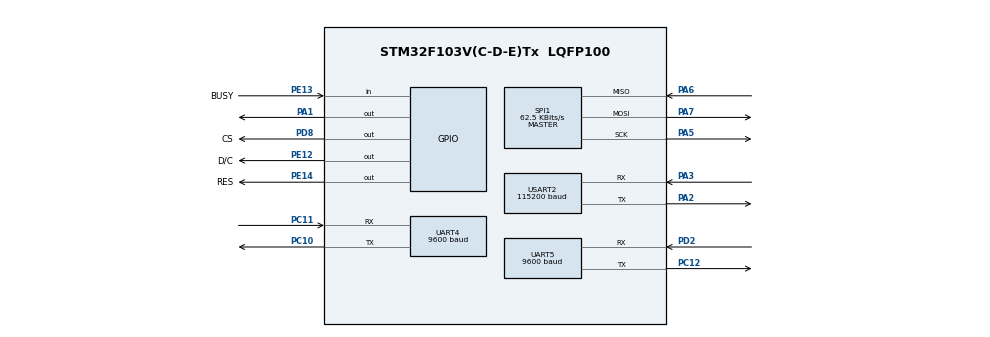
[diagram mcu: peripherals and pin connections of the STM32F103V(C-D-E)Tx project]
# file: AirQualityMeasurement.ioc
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Mcu.Family=STM32F1
Mcu.Name=STM32F103V(C-D-E)Tx
Mcu.Package=LQFP100
NVIC.PriorityGroup=NVIC_PRIORITYGROUP_4
NVIC.UART5_IRQn=true\:0\:0\:false\:false\:true\:true\:true
NVIC.USART2_IRQn=true\:0\:0\:false\:false\:true\:true\:true
PA1.Signal=GPIO_Output
PA13.Mode=Serial_Wire
PA13.Signal=SYS_JTMS-SWDIO
PA14.Mode=Serial_Wire
PA14.Signal=SYS_JTCK-SWCLK
PA2.Mode=Asynchronous
PA2.Signal=USART2_TX
PA3.Mode=Asynchronous
PA3.Signal=USART2_RX
PA5.GPIO_Speed=GPIO_SPEED_FREQ_LOW
PA5.Mode=Full_Duplex_Master
PA5.Signal=SPI1_SCK
PA6.GPIO_PuPd=GPIO_PULLUP
PA6.Mode=Full_Duplex_Master
PA6.Signal=SPI1_MISO
PA7.GPIO_Speed=GPIO_SPEED_FREQ_LOW
PA7.Mode=Full_Duplex_Master
PA7.Signal=SPI1_MOSI
PC10.Mode=Asynchronous
PC10.Signal=UART4_TX
PC11.Mode=Asynchronous
PC11.Signal=UART4_RX
PC12.Mode=Asynchronous
PC12.Signal=UART5_TX
PD2.Mode=Asynchronous
PD2.Signal=UART5_RX
PD8.GPIO_Label=CS
PD8.Signal=GPIO_Output
PE12.GPIO_Label=D/C
PE12.Signal=GPIO_Output
PE13.GPIO_Label=BUSY
PE13.GPIO_PuPd=GPIO_PULLUP
PE13.Signal=GPIO_Input
PE14.GPIO_Label=RES
PE14.Signal=GPIO_Output
ProjectManager.HeapSize=0x200
ProjectManager.StackSize=0x400
ProjectManager.TargetToolchain=STM32CubeIDE
RCC.APB1Freq_Value=8000000
RCC.APB2Freq_Value=8000000
SPI1.BaudRatePrescaler=SPI_BAUDRATEPRESCALER_128
SPI1.CalculateBaudRate=62.5 KBits/s
SPI1.Direction=SPI_DIRECTION_2LINES
SPI1.Mode=SPI_MODE_MASTER
SPI1.VirtualType=VM_MASTER
UART4.BaudRate=9600
UART4.VirtualMode=Asynchronous
UART5.BaudRate=9600
UART5.VirtualMode=Asynchronous
USART2.BaudRate=115200
USART2.VirtualMode=VM_ASYNC
board=custom

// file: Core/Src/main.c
/* USER CODE BEGIN Header */
/**
 ******************************************************************************
 * @file           : main.c
 * @brief          : Main program body
 ******************************************************************************
 * @attention
 *
 * <h2><center>&copy; Copyright (c) 2020 STMicroelectronics.
 * All rights reserved.</center></h2>
 *
 * This software component is licensed by ST under BSD 3-Clause license,
 * the "License"; You may not use this file except in compliance with the
 * License. You may obtain a copy of the License at:
 *                        opensource.org/licenses/BSD-3-Clause
 *
 ******************************************************************************
 */
/* USER CODE END Header */
#include "main.h"

/* USER CODE BEGIN Includes */
#include "../CO2/CO2.h"
#include "../EPDControl/EPDControl.h"
#include "../PM25/PM25Control.h"
#include "../ImageCreator/ImageCreator.h"
#include "stm32f1xx_hal_spi.h"
#include "../WiFi/WiFi.h"
#include "stm32f1xx_hal_uart.h"
#include "../Picture/picture.h"
#include <stdint.h>
#include <string.h>
#include "../UI/UI.h"
#include "stm32f1xx_hal.h"
#include "stm32f1xx_hal_rcc.h"
/* USER CODE END Includes */

SPI_HandleTypeDef hspi1;

UART_HandleTypeDef huart4;
UART_HandleTypeDef huart5;
UART_HandleTypeDef huart2;

void SystemClock_Config(void);
static void MX_GPIO_Init(void);
static void MX_SPI1_Init(void);
static void MX_USART2_UART_Init(void);
static void MX_UART5_Init(void);
static void MX_UART4_Init(void);
/* USER CODE BEGIN PFP */
HDC hdc = {0};
uint8_t hdcBuff[5808];
uint8_t hdcBuff2[5808];
/* USER CODE END PFP */

int main(void)
{

  /* MCU Configuration--------------------------------------------------------*/

  /* Reset of all peripherals, Initializes the Flash interface and the Systick. */
  HAL_Init();

  /* Configure the system clock */
  SystemClock_Config();

  /* Initialize all configured peripherals */
  MX_GPIO_Init();
  MX_SPI1_Init();
  MX_USART2_UART_Init();
  MX_UART5_Init();
  MX_UART4_Init();
  /* USER CODE BEGIN 2 */

  uint8_t hdc_buff_switch = 0;
  uint8_t *hdc_buff_point[2];
  hdc_buff_point[0] = hdcBuff;
  hdc_buff_point[1] = hdcBuff2;

  // 启动进度�?
  FillColor(&hdc, 0, 0, 264, 176, 1);
  ConvertTo2Color(&hdc, hdc_buff_point[hdc_buff_switch]);
  EPD_DrawImage(hdc_buff_point[hdc_buff_switch]);
  HAL_Delay(3000);

  EPD_init_4Gray();
  UIForStartUp(&hdc, 0);
  ConvertTo2Color(&hdc, hdc_buff_point[hdc_buff_switch]);
  EPD_partial_display(0, 0, hdc_buff_point[hdc_buff_switch], hdc_buff_point[hdc_buff_switch], 176, 264, 0);
  hdc_buff_switch ^= 1;

  InitAirQuality();

  // 进度�? 25%
  UIForStartUp(&hdc, 25);
  ConvertTo2Color(&hdc, hdc_buff_point[hdc_buff_switch]);
  EPD_partial_display(0, 0, hdc_buff_point[hdc_buff_switch ^ 1], hdc_buff_point[hdc_buff_switch], 176, 264, 1);
  hdc_buff_switch ^= 1;

  InitCo2Module();

  // 进度�? 50%
  UIForStartUp(&hdc, 50);
  ConvertTo2Color(&hdc, hdc_buff_point[hdc_buff_switch]);
  EPD_partial_display(0, 0, hdc_buff_point[hdc_buff_switch ^ 1], hdc_buff_point[hdc_buff_switch], 176, 264, 1);
  hdc_buff_switch ^= 1;

  GetCo2Value();

  // 进度�? 75%
  UIForStartUp(&hdc, 75);
  ConvertTo2Color(&hdc, hdc_buff_point[hdc_buff_switch]);
  EPD_partial_display(0, 0, hdc_buff_point[hdc_buff_switch ^ 1], hdc_buff_point[hdc_buff_switch], 176, 264, 1);
  hdc_buff_switch ^= 1;

  /* USER CODE END 2 */

  /* Infinite loop */
  /* USER CODE BEGIN WHILE */

  InitWiFiModule();

  // 进度�? 100%
  UIForStartUp(&hdc, 100);
  ConvertTo2Color(&hdc, hdc_buff_point[hdc_buff_switch]);
  EPD_partial_display(0, 0, hdc_buff_point[hdc_buff_switch ^ 1], hdc_buff_point[hdc_buff_switch], 176, 264, 1);
  hdc_buff_switch ^= 1;

  while (1)
  {
    /* USER CODE END WHILE */

    /* USER CODE BEGIN 3 */

    UpdataPM25Data();
    GetCo2Value();
    UpdateAirQualityInfo(g_AirQuality.PM1, g_AirQuality.PM2_5, g_AirQuality.PM10, g_AirQuality.TVOC, g_AirQuality.Temperature, g_AirQuality.Tumidity, g_u32Co2Value);

    UIForAirQuality(&hdc);
    ConvertTo2Color(&hdc, hdcBuff);
    EPD_DrawImage(hdcBuff);

    HAL_Delay(5000);
  }
  /* USER CODE END 3 */
}

void SystemClock_Config(void)
{
  RCC_OscInitTypeDef RCC_OscInitStruct = {0};
  RCC_ClkInitTypeDef RCC_ClkInitStruct = {0};

  /** Initializes the RCC Oscillators according to the specified parameters
  * in the RCC_OscInitTypeDef structure.
  */
  RCC_OscInitStruct.OscillatorType = RCC_OSCILLATORTYPE_HSI;
  RCC_OscInitStruct.HSIState = RCC_HSI_ON;
  RCC_OscInitStruct.HSICalibrationValue = RCC_HSICALIBRATION_DEFAULT;
  RCC_OscInitStruct.PLL.PLLState = RCC_PLL_NONE;
  if (HAL_RCC_OscConfig(&RCC_OscInitStruct) != HAL_OK)
  {
    Error_Handler();
  }
  /** Initializes the CPU, AHB and APB buses clocks
  */
  RCC_ClkInitStruct.ClockType = RCC_CLOCKTYPE_HCLK|RCC_CLOCKTYPE_SYSCLK
                              |RCC_CLOCKTYPE_PCLK1|RCC_CLOCKTYPE_PCLK2;
  RCC_ClkInitStruct.SYSCLKSource = RCC_SYSCLKSOURCE_HSI;
  RCC_ClkInitStruct.AHBCLKDivider = RCC_SYSCLK_DIV1;
  RCC_ClkInitStruct.APB1CLKDivider = RCC_HCLK_DIV1;
  RCC_ClkInitStruct.APB2CLKDivider = RCC_HCLK_DIV1;

  if (HAL_RCC_ClockConfig(&RCC_ClkInitStruct, FLASH_LATENCY_0) != HAL_OK)
  {
    Error_Handler();
  }
}

static void MX_SPI1_Init(void)
{

  /* SPI1 parameter configuration*/
  hspi1.Instance = SPI1;
  hspi1.Init.Mode = SPI_MODE_MASTER;
  hspi1.Init.Direction = SPI_DIRECTION_2LINES;
  hspi1.Init.DataSize = SPI_DATASIZE_8BIT;
  hspi1.Init.CLKPolarity = SPI_POLARITY_LOW;
  hspi1.Init.CLKPhase = SPI_PHASE_1EDGE;
  hspi1.Init.NSS = SPI_NSS_SOFT;
  hspi1.Init.BaudRatePrescaler = SPI_BAUDRATEPRESCALER_128;
  hspi1.Init.FirstBit = SPI_FIRSTBIT_MSB;
  hspi1.Init.TIMode = SPI_TIMODE_DISABLE;
  hspi1.Init.CRCCalculation = SPI_CRCCALCULATION_DISABLE;
  hspi1.Init.CRCPolynomial = 10;
  if (HAL_SPI_Init(&hspi1) != HAL_OK)
  {
    Error_Handler();
  }

}

static void MX_UART4_Init(void)
{

  huart4.Instance = UART4;
  huart4.Init.BaudRate = 9600;
  huart4.Init.WordLength = UART_WORDLENGTH_8B;
  huart4.Init.StopBits = UART_STOPBITS_1;
  huart4.Init.Parity = UART_PARITY_NONE;
  huart4.Init.Mode = UART_MODE_TX_RX;
  huart4.Init.HwFlowCtl = UART_HWCONTROL_NONE;
  huart4.Init.OverSampling = UART_OVERSAMPLING_16;
  if (HAL_UART_Init(&huart4) != HAL_OK)
  {
    Error_Handler();
  }

}

static void MX_UART5_Init(void)
{

  huart5.Instance = UART5;
  huart5.Init.BaudRate = 9600;
  huart5.Init.WordLength = UART_WORDLENGTH_8B;
  huart5.Init.StopBits = UART_STOPBITS_1;
  huart5.Init.Parity = UART_PARITY_NONE;
  huart5.Init.Mode = UART_MODE_TX_RX;
  huart5.Init.HwFlowCtl = UART_HWCONTROL_NONE;
  huart5.Init.OverSampling = UART_OVERSAMPLING_16;
  if (HAL_UART_Init(&huart5) != HAL_OK)
  {
    Error_Handler();
  }

}

static void MX_USART2_UART_Init(void)
{

  huart2.Instance = USART2;
  huart2.Init.BaudRate = 115200;
  huart2.Init.WordLength = UART_WORDLENGTH_8B;
  huart2.Init.StopBits = UART_STOPBITS_1;
  huart2.Init.Parity = UART_PARITY_NONE;
  huart2.Init.Mode = UART_MODE_TX_RX;
  huart2.Init.HwFlowCtl = UART_HWCONTROL_NONE;
  huart2.Init.OverSampling = UART_OVERSAMPLING_16;
  if (HAL_UART_Init(&huart2) != HAL_OK)
  {
    Error_Handler();
  }

}

static void MX_GPIO_Init(void)
{
  GPIO_InitTypeDef GPIO_InitStruct = {0};

  /* GPIO Ports Clock Enable */
  __HAL_RCC_GPIOA_CLK_ENABLE();
  __HAL_RCC_GPIOE_CLK_ENABLE();
  __HAL_RCC_GPIOD_CLK_ENABLE();
  __HAL_RCC_GPIOC_CLK_ENABLE();

  /*Configure GPIO pin Output Level */
  HAL_GPIO_WritePin(GPIOA, GPIO_PIN_1, GPIO_PIN_RESET);

  /*Configure GPIO pin Output Level */
  HAL_GPIO_WritePin(GPIOE, D_C_Pin|RES_Pin, GPIO_PIN_RESET);

  /*Configure GPIO pin Output Level */
  HAL_GPIO_WritePin(CS_GPIO_Port, CS_Pin, GPIO_PIN_RESET);

  /*Configure GPIO pin : PA1 */
  GPIO_InitStruct.Pin = GPIO_PIN_1;
  GPIO_InitStruct.Mode = GPIO_MODE_OUTPUT_PP;
  GPIO_InitStruct.Pull = GPIO_NOPULL;
  GPIO_InitStruct.Speed = GPIO_SPEED_FREQ_LOW;
  HAL_GPIO_Init(GPIOA, &GPIO_InitStruct);

  /*Configure GPIO pins : D_C_Pin RES_Pin */
  GPIO_InitStruct.Pin = D_C_Pin|RES_Pin;
  GPIO_InitStruct.Mode = GPIO_MODE_OUTPUT_PP;
  GPIO_InitStruct.Pull = GPIO_NOPULL;
  GPIO_InitStruct.Speed = GPIO_SPEED_FREQ_LOW;
  HAL_GPIO_Init(GPIOE, &GPIO_InitStruct);

  /*Configure GPIO pin : BUSY_Pin */
  GPIO_InitStruct.Pin = BUSY_Pin;
  GPIO_InitStruct.Mode = GPIO_MODE_INPUT;
  GPIO_InitStruct.Pull = GPIO_PULLUP;
  HAL_GPIO_Init(BUSY_GPIO_Port, &GPIO_InitStruct);

  /*Configure GPIO pin : CS_Pin */
  GPIO_InitStruct.Pin = CS_Pin;
  GPIO_InitStruct.Mode = GPIO_MODE_OUTPUT_PP;
  GPIO_InitStruct.Pull = GPIO_NOPULL;
  GPIO_InitStruct.Speed = GPIO_SPEED_FREQ_LOW;
  HAL_GPIO_Init(CS_GPIO_Port, &GPIO_InitStruct);

}

/* USER CODE BEGIN 4 */
void pfnCO2RecvCallback(struct __UART_HandleTypeDef *huart)
{
  if (huart == &huart5)
  {
  }
}

void pfnCO2ErrorCallback(struct __UART_HandleTypeDef *huart)
{
  if (huart == &huart5)
  {
  }
}
/* USER CODE END 4 */

void Error_Handler(void)
{
}
